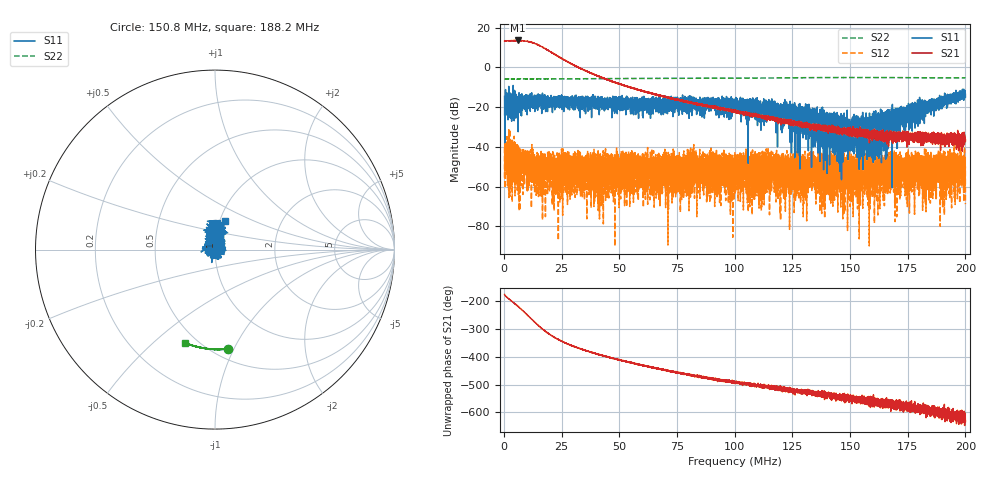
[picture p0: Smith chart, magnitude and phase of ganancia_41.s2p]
# Hz S DB R 50
! CMT, M5065, 19127446, 24.2.4/2
! Date: 11/8/2024 4:09:09 PM
! Data: Format (Calibration Info)
! Freq	S11:dB/Ang(F2)	S21:dB/Ang(F2)	S12:dB/Ang(F2)	S22:dB/Ang(F2)
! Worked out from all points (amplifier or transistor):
!   9000 points, 300 kHz to 200 MHz, reference 50 ohm
!   highest |S21| = 13.6 dB at 5.892 MHz (marker M1)
!   |S21| within 3 dB of that: start of sweep to 16.15 MHz
!   unconditionally stable (mu >= 1): start of sweep to end of sweep
!   at 33.59 MHz: K = 208.56, MAG = 0.7 dB, |S12| = -54.6 dB
!   at 100.2 MHz: K = 7201.13, MAG = -20.9 dB, |S12| = -63.9 dB
!   at 200 MHz: K = 60867.60, MAG = -34.6 dB, |S12| = -68.8 dB
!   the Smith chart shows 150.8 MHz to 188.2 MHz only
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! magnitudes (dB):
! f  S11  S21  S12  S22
! 300 kHz  -14.6  13.4  -40.3  -5.8
! 3.118 MHz  -22.5  13.4  -42.1  -5.9
! 5.892 MHz  -19.0  13.6  -58.3  -5.8
! 15.79 MHz  -16.9  10.8  -64.6  -5.8
! 19.92 MHz  -15.3  8.1  -44.7  -5.8
! 21.94 MHz  -19.6  6.6  -54.1  -5.8
! 25.8 MHz  -17.3  4.0  -49.1  -5.8
! 33.59 MHz  -16.5  -0.7  -54.6  -5.7
! 66.87 MHz  -16.9  -13.9  -58.0  -5.5
! 100.2 MHz  -16.5  -22.4  -63.9  -5.4
! 110.8 MHz  -20.8  -24.2  -46.0  -5.4
! 112.8 MHz  -22.8  -25.4  -53.3  -5.4
! 117.2 MHz  -19.2  -26.2  -45.4  -5.3
! 122.8 MHz  -25.8  -27.0  -57.9  -5.3
! 133.4 MHz  -23.7  -28.9  -62.4  -5.1
! 150.8 MHz  -33.2  -33.0  -48.1  -5.1
! 156.6 MHz  -30.7  -31.0  -48.1  -5.1
! 166.7 MHz  -24.3  -32.9  -47.0  -5.1
! 179.8 MHz  -20.6  -34.5  -47.1  -5.2
! 189.9 MHz  -17.4  -35.4  -51.0  -5.2
! 198.7 MHz  -13.7  -37.4  -54.7  -5.3
! 200 MHz  -13.6  -36.3  -68.8  -5.3
